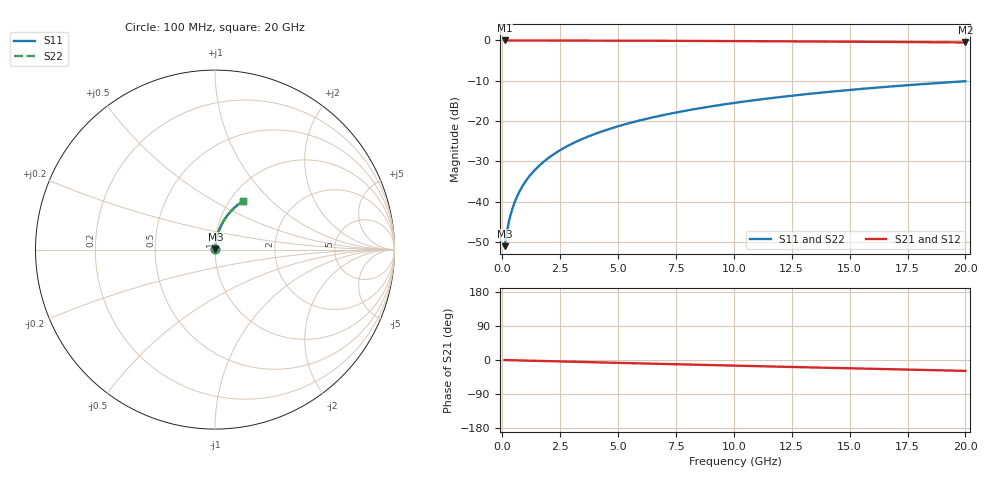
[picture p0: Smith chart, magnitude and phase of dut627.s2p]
! Touchstone file exported from HFSS 2026.1.0
!  File:  C:/ffzhzh/LocalFiles/Ansys_Project_Files/temp_train_TMRDL_627_1783009112_4048.aedt
!  Generated:  12:20:02 AM Jul  3, 2026
!  Design:  TMRDL
!  Project:  temp_train_TMRDL_627_1783009112_4048
! Variables:
!  h_bsmrdl = 2um
!  h_ox = 20um
!  h_rdl = 5um
!  h_sub = 80um
!  h_tmrdl = 3.53um
!  h_tsv = 80um
!  h_via = 3um
!  l_bsmrdl = 300um
!  l_sub = 762.57um
!  l_tmrdl = 362.57um
!  m_sub = 200um
!  pitch = 50.99um
!  r_tsv = 6um
!  s_tmrdl = 10um
!  w_bsmrdl = 18um
!  w_sub = 500um
!  w_tmrdl = 18.84um
!  x_tsv_center1 = 371.99um
!  x_tsv_center2 = 689.99um
!  x_tsv_center3 = 1071.4um
!  x_tsv_center4 = 1389.4um
!  x_tsv_center5 = 1770.81um
!  x_tsv_center6 = 2088.81um
# GHz S MA R 50.000000
! Terminal data exported
! Port[1] = TM_RDL1_1_T1
! Port[2] = TM_RDL1_1_T2
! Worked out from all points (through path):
!   200 points, 100 MHz to 20 GHz, reference 50 ohm
!   highest |S21| = -0.02 dB at 100 MHz (marker M1); lowest = -0.5 dB at 20 GHz (marker M2)
!   group delay of S21, straight-line fit = 3.99 ps
!   lowest |S11| = -51.0 dB at 100 MHz (marker M3), VSWR 1.01, Z = 50.2 + j0.186 ohm
!   |S11| at or under -10 dB: start of sweep to end of sweep
!   |S22| runs from -51.0 to -10.1 dB; largest |S21 - S12| = 4.4e-15
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0.1  0.002814 41.2  0.9979 -0.2  0.9979 -0.2  0.002814 41.2
! Gamma 0 0 0 0
! Port Impedance 50 0 50 0
0.2  0.004281 59.1  0.9978 -0.3  0.9978 -0.3  0.004281 59.1
0.3  0.005919 67.1  0.9977 -0.5  0.9977 -0.5  0.005919 67.1
0.4  0.007594 71.5  0.9976 -0.6  0.9976 -0.6  0.007594 71.5
0.5  0.00928 74.3  0.9976 -0.8  0.9976 -0.8  0.00928 74.3
0.6  0.01097 76.2  0.9975 -0.9  0.9975 -0.9  0.01097 76.2
0.8  0.01437 78.7  0.9974 -1.2  0.9974 -1.2  0.01437 78.7
1.1  0.01951 80.7  0.9972 -1.7  0.9972 -1.7  0.01951 80.7
1.5  0.02639 81.9  0.997 -2.3  0.997 -2.3  0.02639 81.9
1.8  0.03156 82.3  0.9968 -2.7  0.9968 -2.7  0.03156 82.3
2.1  0.03673 82.4  0.9965 -3.2  0.9965 -3.2  0.03673 82.4
2.7  0.04706 82.3  0.9959 -4.1  0.9959 -4.1  0.04706 82.3
3.5  0.06076 81.7  0.995 -5.3  0.995 -5.3  0.06076 81.7
4.2  0.07268 80.9  0.9939 -6.3  0.9939 -6.3  0.07268 80.9
5  0.08619 80.0  0.9925 -7.5  0.9925 -7.5  0.08619 80.0
5.9  0.1012 78.8  0.9908 -8.9  0.9908 -8.9  0.1012 78.8
6.8  0.1161 77.6  0.9888 -10.2  0.9888 -10.2  0.1161 77.6
8.3  0.1405 75.6  0.9851 -12.4  0.9851 -12.4  0.1405 75.6
10.1  0.1691 73.1  0.98 -15.0  0.98 -15.0  0.1691 73.1
13.4  0.2196 68.6  0.9691 -19.7  0.9691 -19.7  0.2196 68.6
16.7  0.2672 64.2  0.9564 -24.3  0.9564 -24.3  0.2672 64.2
20  0.3118 59.9  0.9424 -28.7  0.9424 -28.7  0.3118 59.9
